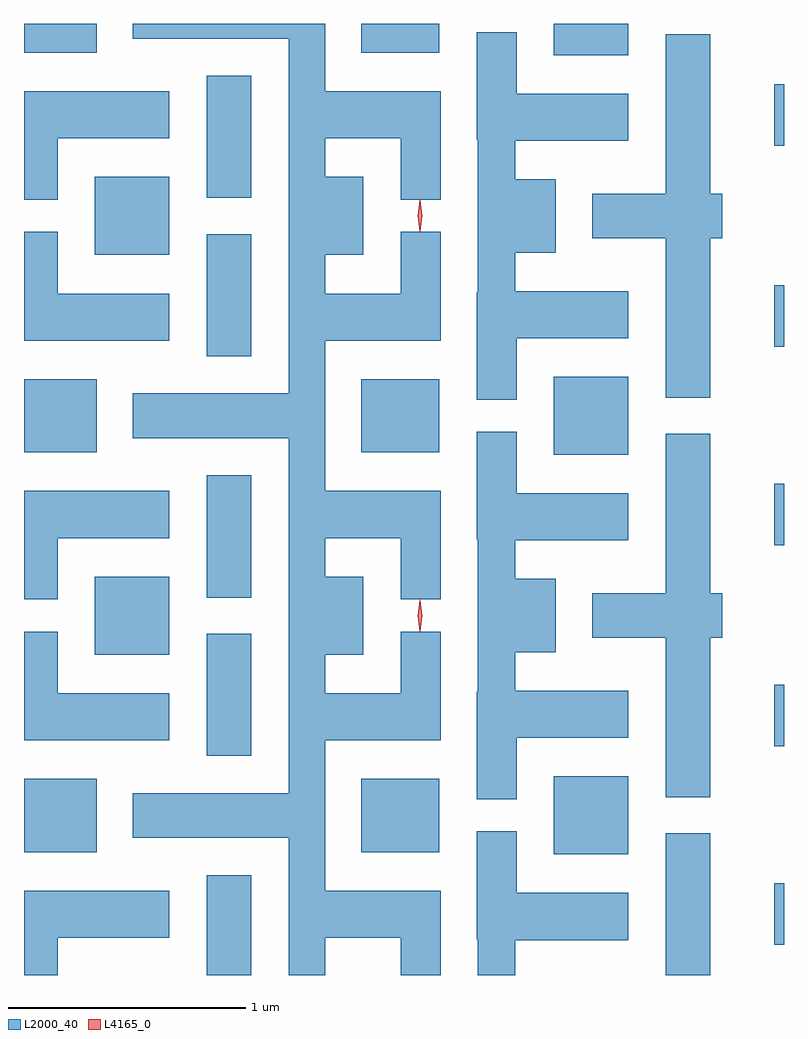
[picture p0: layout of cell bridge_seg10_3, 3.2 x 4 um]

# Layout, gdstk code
import gdstk
lib = gdstk.Library(unit=1e-6, precision=1e-09)
def R(c, l, rs):  # rectangles x0, y0, x1, y1
    for r in rs: c.add(gdstk.rectangle(r[:2], r[2:], *l))
def P(c, l, *ps):  # polygons
    for p in ps: c.add(gdstk.Polygon(p, *l))
L2000_40 = (2000, 40)
L4165_0 = (4165, 0)

bridge_seg10_3 = lib.new_cell('bridge_seg10_3')
R(bridge_seg10_3, L2000_40, [(1911.896,2160.938,1912.084,2161.359), (1913.826,2160.938,1914.014,2161.534), (1914.281,2161.066,1914.323,2161.324), (1913.356,2161.446,1913.669,2161.774), (1911.128,2161.456,1911.434,2161.764), (1912.546,2161.456,1912.874,2161.764), (1911.896,2161.861,1912.084,2162.374), (1914.281,2161.901,1914.323,2162.159), (1911.426,2162.286,1911.739,2162.614), (1911.896,2162.526,1912.084,2163.039), (1914.281,2162.746,1914.323,2163.004), (1913.356,2163.126,1913.669,2163.454), (1911.128,2163.136,1911.434,2163.444), (1912.546,2163.136,1912.874,2163.444), (1911.896,2163.541,1912.084,2164.054), (1914.281,2163.581,1914.323,2163.839), (1911.426,2163.966,1911.739,2164.294), (1911.896,2164.206,1912.084,2164.719), (1914.281,2164.426,1914.323,2164.684), (1913.356,2164.806,1913.669,2164.938), (1911.128,2164.816,1911.434,2164.938), (1912.546,2164.816,1912.874,2164.938)])
P(bridge_seg10_3, L2000_40, [(1912.394,2161.096),(1912.711,2161.096),(1912.711,2160.938),(1912.879,2160.938),(1912.879,2161.294),(1912.394,2161.294),(1912.394,2161.926),(1912.879,2161.926),(1912.879,2162.383),(1912.711,2162.383),(1912.711,2162.124),(1912.394,2162.124),(1912.394,2162.286),(1912.554,2162.286),(1912.554,2162.614),(1912.394,2162.614),(1912.394,2162.776),(1912.711,2162.776),(1912.711,2162.518),(1912.879,2162.518),(1912.879,2162.974),(1912.394,2162.974),(1912.394,2163.606),(1912.879,2163.606),(1912.879,2164.063),(1912.711,2164.063),(1912.711,2163.804),(1912.394,2163.804),(1912.394,2163.966),(1912.554,2163.966),(1912.554,2164.294),(1912.394,2164.294),(1912.394,2164.456),(1912.711,2164.456),(1912.711,2164.198),(1912.879,2164.198),(1912.879,2164.654),(1912.394,2164.654),(1912.394,2164.938),(1911.586,2164.938),(1911.586,2164.876),(1912.241,2164.876),(1912.241,2163.384),(1911.586,2163.384),(1911.586,2163.196),(1912.241,2163.196),(1912.241,2161.704),(1911.586,2161.704),(1911.586,2161.516),(1912.241,2161.516),(1912.241,2160.938),(1912.394,2160.938)],
  [(1913.199,2163.616),(1913.669,2163.616),(1913.669,2163.814),(1913.194,2163.814),(1913.194,2163.976),(1913.364,2163.976),(1913.364,2164.284),(1913.194,2164.284),(1913.194,2164.446),(1913.669,2164.446),(1913.669,2164.644),(1913.199,2164.644),(1913.199,2164.903),(1913.031,2164.903),(1913.031,2164.45),(1913.036,2164.45),(1913.036,2163.81),(1913.031,2163.81),(1913.031,2163.358),(1913.199,2163.358)],
  [(1914.014,2164.036),(1914.064,2164.036),(1914.064,2164.224),(1914.014,2164.224),(1914.014,2164.894),(1913.826,2164.894),(1913.826,2164.224),(1913.516,2164.224),(1913.516,2164.036),(1913.826,2164.036),(1913.826,2163.366),(1914.014,2163.366)],
  [(1911.269,2164.456),(1911.739,2164.456),(1911.739,2164.654),(1911.128,2164.654),(1911.128,2164.198),(1911.269,2164.198)],
  [(1911.739,2163.804),(1911.269,2163.804),(1911.269,2164.063),(1911.128,2164.063),(1911.128,2163.606),(1911.739,2163.606)],
  [(1913.199,2161.936),(1913.669,2161.936),(1913.669,2162.134),(1913.194,2162.134),(1913.194,2162.296),(1913.364,2162.296),(1913.364,2162.604),(1913.194,2162.604),(1913.194,2162.766),(1913.669,2162.766),(1913.669,2162.964),(1913.199,2162.964),(1913.199,2163.223),(1913.031,2163.223),(1913.031,2162.77),(1913.036,2162.77),(1913.036,2162.13),(1913.031,2162.13),(1913.031,2161.678),(1913.199,2161.678)],
  [(1914.014,2162.356),(1914.064,2162.356),(1914.064,2162.544),(1914.014,2162.544),(1914.014,2163.214),(1913.826,2163.214),(1913.826,2162.544),(1913.516,2162.544),(1913.516,2162.356),(1913.826,2162.356),(1913.826,2161.686),(1914.014,2161.686)],
  [(1911.269,2162.776),(1911.739,2162.776),(1911.739,2162.974),(1911.128,2162.974),(1911.128,2162.518),(1911.269,2162.518)],
  [(1911.739,2162.124),(1911.269,2162.124),(1911.269,2162.383),(1911.128,2162.383),(1911.128,2161.926),(1911.739,2161.926)],
  [(1913.194,2161.086),(1913.669,2161.086),(1913.669,2161.284),(1913.199,2161.284),(1913.199,2161.543),(1913.031,2161.543),(1913.031,2161.09),(1913.036,2161.09),(1913.036,2160.938),(1913.194,2160.938)],
  [(1911.269,2161.096),(1911.739,2161.096),(1911.739,2161.294),(1911.128,2161.294),(1911.128,2160.938),(1911.269,2160.938)])
P(bridge_seg10_3, L4165_0, [(1912.793,2162.384),(1912.792,2162.385),(1912.783,2162.45),(1912.792,2162.515),(1912.793,2162.516),(1912.793,2162.515),(1912.803,2162.45),(1912.793,2162.385)],
  [(1912.793,2164.064),(1912.792,2164.065),(1912.783,2164.13),(1912.792,2164.195),(1912.793,2164.196),(1912.793,2164.195),(1912.803,2164.13),(1912.793,2164.065)])

lib.write_gds('bridge_seg10_3.gds')
